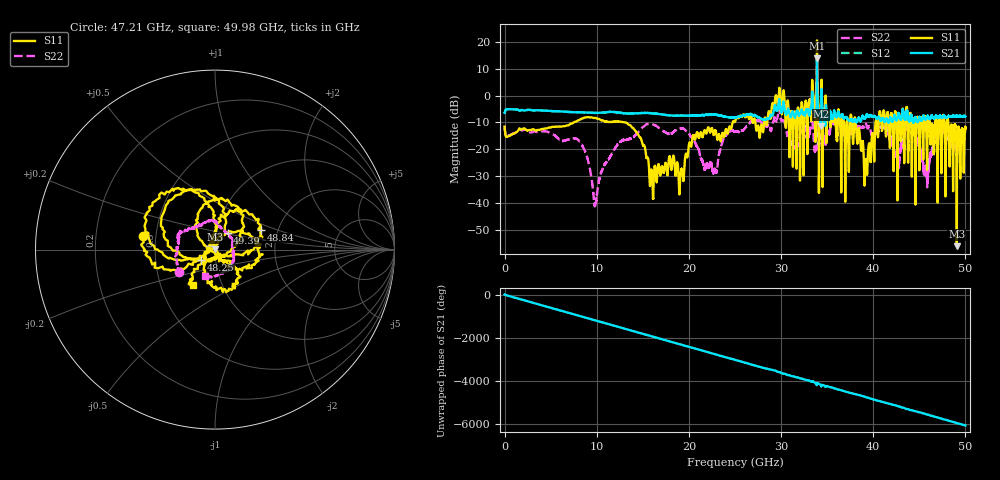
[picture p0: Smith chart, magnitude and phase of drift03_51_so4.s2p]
!Created with skrf (http://scikit-rf.org).
# Hz S RI R 50.0
!freq ReS11 ImS11 ReS21 ImS21 ReS12 ImS12 ReS22 ImS22
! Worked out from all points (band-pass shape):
!   10001 points, 300 kHz to 50 GHz, reference 50 ohm
!   highest |S21| = 13.89 dB at 33.9 GHz (marker M1); lowest = -11.4 dB at 34.32 GHz (marker M2)
!   |S21| within 3 dB of the highest: 33.89101 GHz to 33.90441 GHz (13.4 MHz wide, 0.0395 % of centre)
!   lowest |S11| = -56.1 dB at 49.07 GHz (marker M3), VSWR 1.00, Z = 49.9 + j0.137 ohm
!   |S11| at or under -10 dB: start of sweep to 7.488 GHz; 13.14 GHz to 24.74 GHz (11.6 GHz wide, 61.2 % of centre); 38.09 GHz to 40.26 GHz (2.162 GHz wide, 5.52 % of centre) (the widest 3 of 53)
!   |S22| runs from -41.2 to 6.3 dB; largest |S21 - S12| = 0.36
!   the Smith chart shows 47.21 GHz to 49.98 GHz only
!   S11 on the Smith chart (normalised r, x): 47.21 GHz: 0.42, +0.08; 48.25 GHz: 0.85, -0.10; 48.84 GHz: 1.64, +0.40; 49.39 GHz: 1.13, +0.21; 49.98 GHz: 0.73, -0.30
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300000  -0.2372 -0.1175  0.4681 0.078  0.4665 0.0796  -0.2362 -0.1259
1.440291e9  0.21 0.065  -0.548 -0.0299  -0.5484 -0.0293  0.2115 -0.00408
2.915283e9  -0.2123 -0.0882  0.5345 0.052  0.5348 0.0519  -0.2023 0.0398
4.415274e9  0.206 0.1322  -0.5221 -0.0422  -0.5222 -0.0424  0.1986 -0.0872
8.33525e9  0.289 -0.2335  0.1458 0.4667  0.1458 0.4667  -0.0728 -0.1016
9.845241e9  -0.3635 0.1286  -0.1475 -0.4526  -0.1483 -0.4525  0.00858 0.00214
1.66702e10  0.0268 0.0438  -0.3788 0.2531  -0.3796 0.2528  -0.1275 -0.22
2.500015e10  -0.327 -0.0154  -0.2542 -0.2975  -0.2534 -0.2993  -0.2129 0.0267
2.895013e10  -0.3228 0.4209  -0.2939 0.3227  -0.304 0.2868  0.0618 0.2209
3.006512e10  0.4013 0.2666  0.4514 -0.1952  0.4544 -0.1811  0.176 -0.2973
3.171011e10  -0.0917 0.1853  -0.363 0.3567  -0.3628 0.3535  0.0646 0.1591
3.33351e10  0.627 -0.8289  0.2496 -0.8488  0.2536 -0.8267  -0.1881 -0.4253
3.38951e10  -2.375 -10.38  -4.892 0.7651  -4.601 0.9711  0.5011 2.015
3.432009e10  -0.7799 -9.23e-05  -0.1801 0.1981  -0.2432 0.1778  0.1442 -0.0715
4.167005e10  -0.203 0.3014  0.3163 0.00486  0.3153 0.0103  -0.1926 -0.00905
4.720502e10  -0.4029 0.0776  0.2832 0.3155  0.2835 0.3185  -0.1986 -0.1232
4.824501e10  -0.0763 -0.0591  0.1058 -0.391  0.1082 -0.394  -0.0204 0.1629
4.883501e10  0.2579 0.1118  -0.365 -0.2081  -0.3634 -0.2085  0.1025 0.0526
4.907001e10  -0.000759 0.00138  -0.4212 -0.0184  -0.4228 -0.0252  0.0965 0.0142
4.9385e10  0.0705 0.0908  -0.345 0.2328  -0.3423 0.2349  0.1019 -0.0597
4.998e10  -0.1243 -0.1982  0.1221 0.3938  0.1198 0.392  -0.0532 -0.1481
5e10  -0.1198 -0.2249  0.1401 0.3853  0.1381 0.3849  -0.0513 -0.1427
